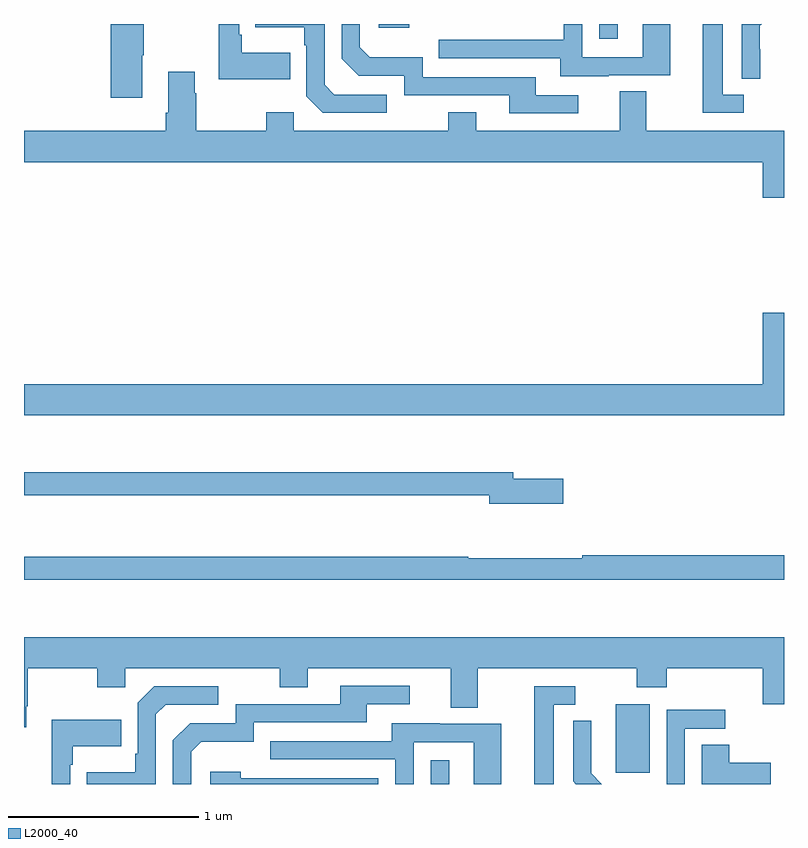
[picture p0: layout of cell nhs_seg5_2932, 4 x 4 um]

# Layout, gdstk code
import gdstk
lib = gdstk.Library(unit=1e-6, precision=1e-09)
def R(c, l, rs):  # rectangles x0, y0, x1, y1
    for r in rs: c.add(gdstk.rectangle(r[:2], r[2:], *l))
def P(c, l, *ps):  # polygons
    for p in ps: c.add(gdstk.Polygon(p, *l))
L2000_40 = (2000, 40)

nhs_seg5_2932 = lib.new_cell('nhs_seg5_2932')
R(nhs_seg5_2932, L2000_40, [(283.14,874.799,283.237,874.924), (284.114,874.857,284.293,875.218), (284.028,878.721,284.125,878.799), (282.867,878.78,283.028,878.799)])
P(nhs_seg5_2932, L2000_40, [(284.077,878.529),(284.401,878.529),(284.401,878.799),(284.256,878.799),(284.256,878.625),(283.938,878.625),(283.938,878.799),(283.842,878.799),(283.842,878.715),(283.183,878.715),(283.183,878.619),(283.823,878.619),(283.823,878.525),(284.077,878.525)],
  [(282.91,878.427),(282.633,878.427),(282.582,878.478),(282.582,878.799),(282.217,878.799),(282.217,878.783),(282.474,878.783),(282.474,878.687),(282.486,878.687),(282.486,878.418),(282.573,878.331),(282.91,878.331)],
  [(284.874,878.666),(284.873,878.666),(284.873,878.789),(284.883,878.799),(284.778,878.799),(284.778,878.512),(284.874,878.512)],
  [(284.788,878.427),(284.677,878.427),(284.677,878.799),(284.573,878.799),(284.573,878.331),(284.788,878.331)],
  [(282.401,878.647),(282.145,878.647),(282.145,878.743),(282.132,878.743),(282.132,878.799),(282.024,878.799),(282.024,878.507),(282.401,878.507)],
  [(281.623,878.635),(281.631,878.635),(281.631,878.799),(281.456,878.799),(281.456,878.412),(281.623,878.412)],
  [(283.918,878.424),(283.693,878.424),(283.693,878.52),(283.098,878.52),(283.098,878.623),(282.821,878.623),(282.768,878.676),(282.768,878.799),(282.672,878.799),(282.672,878.616),(282.762,878.526),(283.002,878.526),(283.002,878.424),(283.553,878.424),(283.553,878.328),(283.918,878.328)],
  [(285,878.236),(284.275,878.236),(284.275,878.444),(284.135,878.444),(284.135,878.236),(283.381,878.236),(283.381,878.335),(283.234,878.335),(283.234,878.236),(282.42,878.236),(282.42,878.335),(282.274,878.335),(282.274,878.236),(281.907,878.236),(281.907,878.435),(281.899,878.435),(281.899,878.548),(281.759,878.548),(281.759,878.332),(281.747,878.332),(281.747,878.236),(281,878.236),(281,878.072),(284.888,878.072),(284.888,877.884),(285,877.884)],
  [(285,877.279),(284.888,877.279),(284.888,876.904),(281,876.904),(281,876.74),(285,876.74)],
  [(283.837,876.405),(283.576,876.405),(283.576,876.439),(281,876.439),(281,876.318),(283.448,876.318),(283.448,876.275),(283.837,876.275)],
  [(285,876.002),(283.939,876.002),(283.939,875.987),(283.339,875.987),(283.339,875.995),(281,875.995),(281,875.874),(285,875.874)],
  [(281.011,875.209),(281.019,875.209),(281.019,875.408),(281.386,875.408),(281.386,875.309),(281.532,875.309),(281.532,875.408),(282.346,875.408),(282.346,875.309),(282.493,875.309),(282.493,875.408),(283.247,875.408),(283.247,875.2),(283.387,875.2),(283.387,875.408),(284.224,875.408),(284.224,875.309),(284.384,875.309),(284.384,875.408),(284.888,875.408),(284.888,875.22),(285,875.22),(285,875.572),(281,875.572),(281,875.097),(281.011,875.097)],
  [(281.88,874.968),(281.933,875.021),(282.21,875.021),(282.21,875.124),(282.805,875.124),(282.805,875.22),(283.03,875.22),(283.03,875.316),(282.665,875.316),(282.665,875.22),(282.114,875.22),(282.114,875.118),(281.874,875.118),(281.784,875.028),(281.784,874.799),(281.88,874.799)],
  [(283.789,875.217),(283.9,875.217),(283.9,875.313),(283.685,875.313),(283.685,874.799),(283.789,874.799)],
  [(281.694,875.166),(281.745,875.217),(282.022,875.217),(282.022,875.313),(281.685,875.313),(281.598,875.226),(281.598,874.957),(281.586,874.957),(281.586,874.861),(281.329,874.861),(281.329,874.799),(281.694,874.799)],
  [(284.478,875.091),(284.692,875.091),(284.692,875.19),(284.382,875.19),(284.382,874.799),(284.478,874.799)],
  [(281.244,874.901),(281.257,874.901),(281.257,874.997),(281.513,874.997),(281.513,875.137),(281.147,875.137),(281.147,874.799),(281.244,874.799)],
  [(283.985,874.856),(283.985,874.978),(283.986,874.978),(283.986,875.132),(283.89,875.132),(283.89,874.814),(283.905,874.799),(284.041,874.799)],
  [(283.05,875.019),(283.368,875.019),(283.368,874.799),(283.513,874.799),(283.513,875.115),(283.189,875.115),(283.189,875.119),(282.935,875.119),(282.935,875.025),(282.295,875.025),(282.295,874.929),(282.954,874.929),(282.954,874.799),(283.05,874.799)],
  [(284.929,874.911),(284.711,874.911),(284.711,875.006),(284.567,875.006),(284.567,874.799),(284.929,874.799)],
  [(282.864,874.83),(282.14,874.83),(282.14,874.864),(281.979,874.864),(281.979,874.799),(282.864,874.799)])

lib.write_gds('nhs_seg5_2932.gds')
